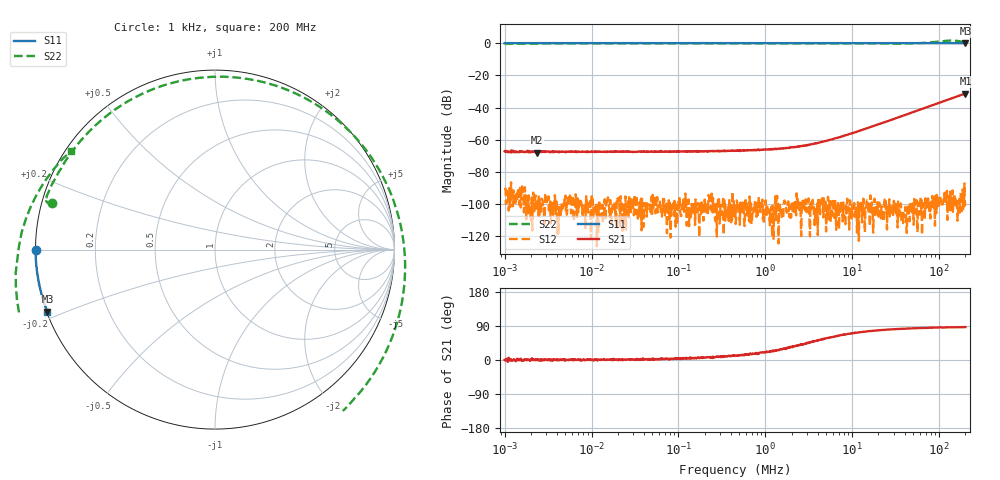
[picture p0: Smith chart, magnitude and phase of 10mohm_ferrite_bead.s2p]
! ListType=Log
# MHZ S RI R 50
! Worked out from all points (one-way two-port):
!   1000 points, 1 kHz to 200 MHz, reference 50 ohm
!   highest |S21| = -31.29 dB at 200 MHz (marker M1); lowest = -68.0 dB at 2.352 kHz (marker M2)
!   lowest |S11| = 0.0 dB at 200 MHz (marker M3), VSWR 422.85, Z = 0.122 - j8.96 ohm
!   |S11| at or under -10 dB: nowhere
!   |S22| runs from -0.5 to 1.7 dB; largest |S21 - S12| = 0.027
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0.001  -0.9982 -0.000238  0.00044 1.5e-06  -1.15e-05 -2.99e-05  -0.9089 0.26
0.002352  -0.999 -0.00053  0.0004 1.3e-06  -7.8e-06 -5.4e-06  -0.9293 0.2594
0.0076941  -0.9994 -0.000159  0.000425 -8.9e-06  -2.1e-06 8.4e-06  -0.9422 0.2759
0.0584804  -0.9994 -9.72e-05  0.000429 1.87e-05  1.1e-06 -7.5e-06  -0.9406 0.2882
0.4499541  -0.9994 -0.000765  0.000441 9.23e-05  1.8e-06 7.1e-06  -0.9349 0.303
1.583875  -0.9993 -0.0028  0.000469 0.000264  -5.8e-06 1.8e-06  -0.918 0.3413
3.419952  -0.9993 -0.00625  0.000493 0.000546  -1.8e-06 -7.2e-06  -0.8867 0.4028
12.03851  -0.9992 -0.0218  0.000557 0.00182  -7.5e-06 -3e-07  -0.7122 0.6466
18.46267  -0.9989 -0.0333  0.000593 0.00274  1.7e-06 -4.3e-06  -0.5466 0.7874
26.31347  -0.9983 -0.0473  0.000651 0.00386  3.6e-06 -3.5e-06  -0.3118 0.9064
38.43037  -0.9971 -0.0689  0.000721 0.00555  1.2e-06 -2.3e-06  0.0882 0.9611
50.9003  -0.9952 -0.0912  0.000799 0.0073  -1e-07 -2.3e-06  0.4925 0.8486
64.99008  -0.9924 -0.1163  0.000889 0.00924  6e-06 -3.9e-06  0.8567 0.5339
81.97236  -0.9882 -0.1462  0.000984 0.0116  5.3e-06 -7.1e-06  1.057 -0.0223
92.62555  -0.9851 -0.1649  0.00104 0.013  -3.4e-06 -4.1e-06  1.016 -0.4025
103.3922  -0.9815 -0.1837  0.00109 0.0145  -9.6e-06 -1.12e-05  0.8402 -0.7545
116.8291  -0.9765 -0.2071  0.00116 0.0163  1.25e-05 -4.9e-06  0.4616 -1.075
128.8255  -0.9716 -0.2276  0.00123 0.0179  -1.25e-05 -1.01e-05  0.0311 -1.195
145.5678  -0.9634 -0.2568  0.00141 0.0202  5.8e-06 -1.22e-05  -0.5687 -1.06
164.4859  -0.9544 -0.288  0.00138 0.0226  4.6e-06 -3.3e-06  -1.028 -0.5582
179.1732  -0.946 -0.3116  0.00139 0.0245  -1.87e-05 -8.8e-06  -1.102 -0.0581
200  -0.9334 -0.3455  0.00147 0.0272  -1.29e-05 -6.6e-06  -0.8026 0.5506
